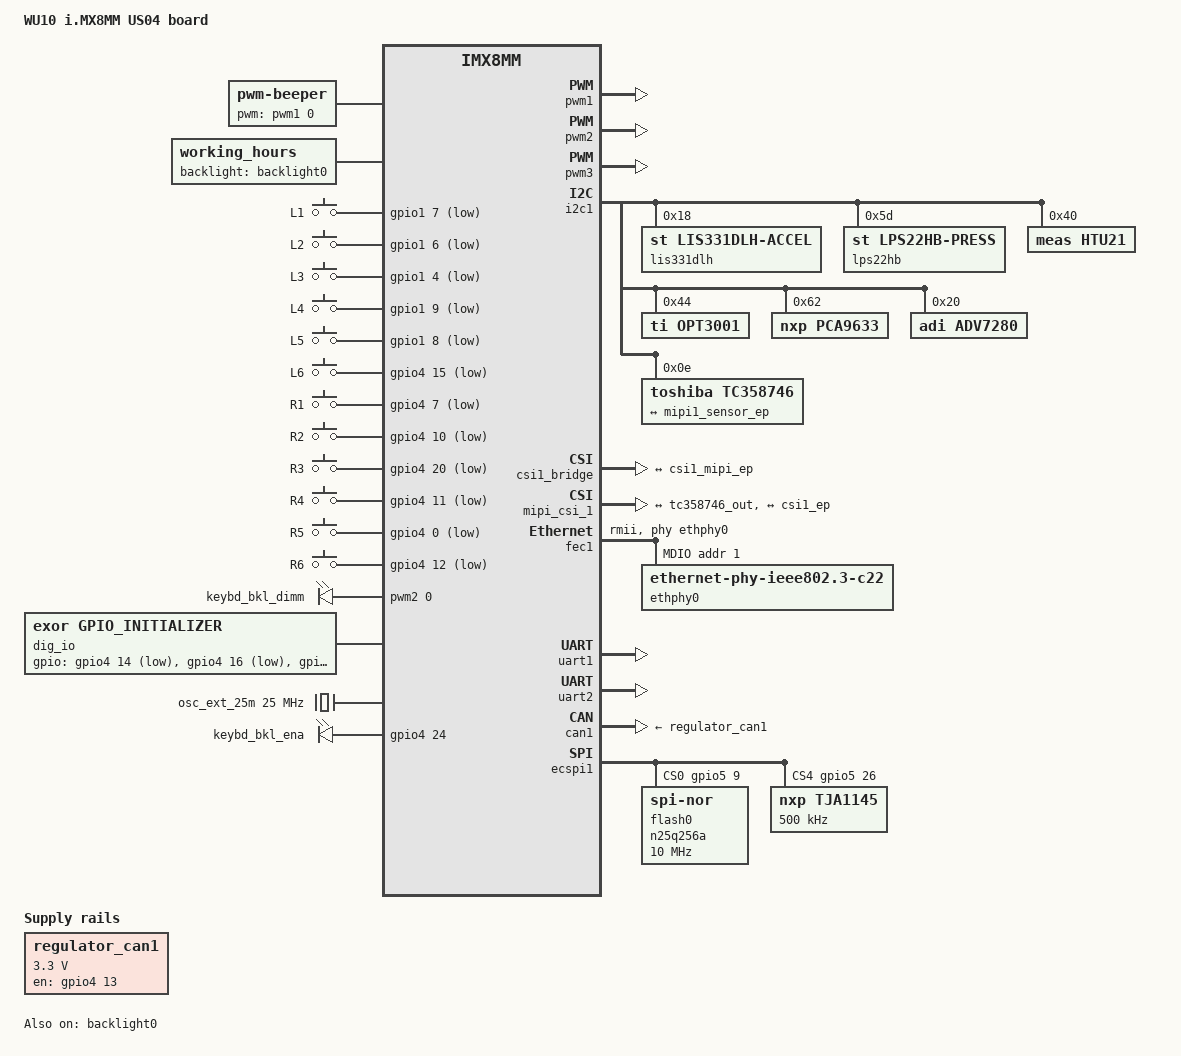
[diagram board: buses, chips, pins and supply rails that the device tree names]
/*
 * Copyright (C) 2019 Exor S.p.a
 * 
 * Written by: G. Pavoni Exor S.p.a.
 * 
 * Copyright (C) 2013 Freescale Semiconductor, Inc.
 *
 * This program is free software; you can redistribute it and/or modify
 * it under the terms of the GNU General Public License version 2 as
 * published by the Free Software Foundation.
 */
  
/dts-v1/;
  
#include "imx8mm_us04.dtsi"
  
/ {
	model = "WU10 i.MX8MM US04 board";
	compatible = "fsl,imx8mm-evk", "fsl,imx8mm";

	thermal-zones {
		/* cpu thermal */
		cpu-thermal {
			polling-delay-passive = <250>;
			polling-delay = <2000>;
			thermal-sensors = <&tmu>;
			trips {
				cpu_alert0: trip0 {
					temperature = <110000>;
					hysteresis = <2000>;
					type = "passive";
				};

				cpu_crit0: trip1 {
					temperature = <120000>;
					hysteresis = <2000>;
					type = "critical";
				};
			};

			cooling-maps {
				map0 {
					trip = <&cpu_alert0>;
					cooling-device =
					<&A53_0 THERMAL_NO_LIMIT THERMAL_NO_LIMIT>;
				};
			};
		};
	};
	
	beeper {
		compatible = "pwm-beeper";
		pwms = <&pwm1 0 50000 0>;
	};

	working_hours {
	  compatible = "working_hours";
	  nvmem-names = "eeprom", "rtcnvram";
	  nvmem = <&seeprom0>, <&m41t83>;
	  backlight = <&backlight0>;
	  status = "okay";
	};	
		
	gpio_buttons: gpio_buttons@0 {
		compatible = "gpio-keys";
		#address-cells = <1>;
		#size-cells = <0>;
		pinctrl-names = "default";
		pinctrl-0 = <&pinctrl_gpiobutton>;

		button@1 {
		    label = "L1";
		    linux,code = <68>; /* KEY_F10 */
		    gpios = <&gpio1 7 GPIO_ACTIVE_LOW>;
		};
		button@2 {
		    label = "L2";
		    linux,code = <67>; /* KEY_F9 */
		    gpios = <&gpio1 6 GPIO_ACTIVE_LOW>;
		};
		button@3 {
		    label = "L3";
		    linux,code = <66>; /* KEY_F8 */
		    gpios = <&gpio1 4 GPIO_ACTIVE_LOW>;
		};
		button@4 {
		    label = "L4";
		    linux,code = <65>; /* KEY_F7 */
		    gpios = <&gpio1 9 GPIO_ACTIVE_LOW>;
		};
		button@5 {
		    label = "L5";
		    linux,code = <64>; /* KEY_F6 */
		    gpios = <&gpio1 8 GPIO_ACTIVE_LOW>;
		};
		button@6 {
		    label = "L6";
		    linux,code = <87>; /* KEY_F11 */
		    gpios = <&gpio4 15 GPIO_ACTIVE_LOW>;
		};
		
		button@7 {
		    label = "R1";
		    linux,code = <63>; /* KEY_F5 */
		    gpios = <&gpio4 7 GPIO_ACTIVE_LOW>;
		};
		button@8 {
		    label = "R2";
		    linux,code = <62>; /* KEY_F4 */
		    gpios = <&gpio4 10 GPIO_ACTIVE_LOW>;
		};
		button@9 {
		    label = "R3";
		    linux,code = <61>; /* KEY_F3 */
		    gpios = <&gpio4 20 GPIO_ACTIVE_LOW>;
		};
		button@10 {
		    label = "R4";
		    linux,code = <60>; /* KEY_F2 */
		    gpios = <&gpio4 11 GPIO_ACTIVE_LOW>;
		};
		button@11 {
		    label = "R5";
		    linux,code = <59>; /* KEY_F1 */
		    gpios = <&gpio4 0 GPIO_ACTIVE_LOW>;
		};
		button@12 {
		    label = "R6";
		    linux,code = <88>; /* KEY_F12 */
		    gpios = <&gpio4 12 GPIO_ACTIVE_LOW>;
		};
	};
	
	pwmleds:pwmleds {
		compatible = "pwm-leds";
		keybd_bkl_dimm {
			label = "keybd_bkl_dimm";
			pwms = <&pwm2 0 1000000>;
			max-brightness = <255>;
		};
	};	
	
	dig_io:dig_io {
	  compatible = "exor,gpio_initializer";
	  pinctrl-names = "default";
	  pinctrl-0 = <&pinctrl_dig_io>;
	  gpios = <&gpio4 14 0x21>, <&gpio4 16 0x21>, <&gpio4 5 0x21>,  <&gpio4 4 0x21>,  <&gpio4 3 0x21>,  <&gpio4 2 0x21>,
	          <&gpio2 19 0x20>, <&gpio4 6 0x20>,  <&gpio5 10 0x20>, <&gpio5 13 0x20>, <&gpio5 12 0x20>, <&gpio5 11 0x20>;
	  gpio-names = "flt12", "flt34", "in1", "in2", "in3", "in4",
	               "en12", "en34", "out1", "out2", "out3", "out4";
	};
	
	regulator_can1: regulator_can1 {
            compatible = "regulator-fixed";
            regulator-name = "can1_stb";
            regulator-min-microvolt = <3300000>;
            regulator-max-microvolt = <3300000>;
            gpio = <&gpio4 13 0>;
            enable-active-high;
        };

	/* 25 MHz crystal oscillator for TC358748 */
	clocks {
		osc_ext_25m: clock@6 {
			compatible = "fixed-clock";
			reg = <6>;
			#clock-cells = <0>;
			clock-frequency = <25000000>;
			clock-output-names = "osc_ext_25m";
		};
	};
};

&backlight0 {
    compatible = "pwm-backlight";
    pwms = <&pwm3 0 50000 0>;
    brightness-levels = <0 4 8 12 16 20 24 28 32 36 40 44 48 52 56 60 64 68 72 76 80 84 88 92 96 100>;
    default-brightness-level = <0>;
    enable-gpios = <&gpio5 5 0>;
    status = "okay";
};

&pwm1 {
	pinctrl-names = "default";
	pinctrl-0 = <&pinctrl_pwm1>;
	status = "okay";
};

&pwm2 {
	pinctrl-names = "default";
	pinctrl-0 = <&pinctrl_pwm2>;
	status = "okay";
};

&pwm3 {
	pinctrl-names = "default";
	pinctrl-0 = <&pinctrl_pwm3>;
	status = "okay";
};

&i2c1 {
	lis331dlh@18 {
		/* Accelerometer */
		compatible = "st,lis331dlh-accel";
		reg = <0x18>;
	};

	lps22hb@5d {
		/* Pressure */
		compatible = "st,lps22hb-press";
		reg = <0x5d>;
	};
	
	htu21@40 {
		/* Humidity */
		compatible = "meas,htu21";
		reg = <0x40>;
	};

	opt3001@44 {
	  compatible = "ti,opt3001";
	  reg = <0x44>;
	};			
	
	pca9633: pca9633 {
		compatible = "nxp,pca9633";
		#address-cells = <1>;
		#size-cells = <0>;
		reg = <0x62>;
		
		red@0 {
			label = "red";
			reg = <0>;
			linux,default-trigger = "none";
		};
		green@1 {
			label = "green";
			reg = <1>;
			linux,default-trigger = "none";
		};
		blue@2 {
			label = "blue";
			reg = <2>;
			linux,default-trigger = "none";
		};
		unused@3 {
			label = "unused";
			reg = <3>;
			linux,default-trigger = "none";
		};
	};	
	adv7280@20 {
		status = "okay";
		compatible = "adi,adv7280";
		reg = <0x20>;
		csi_id =<0>; /* ?? */
		cvbs = <1>; /* Analogue channel: input 8 */
		clocks = <&osc_ext_25m>;
		clock-names = "refclk";
	};
	tc358746@e {
		compatible = "toshiba,tc358746";
		reg = <0xe>;
		clocks = <&osc_ext_25m>;
		clock-names = "refclk";
		port {
			tc358746_out: endpoint {
				remote-endpoint = <&mipi1_sensor_ep>;
//				data-lanes = <1 2 3 4>;
				data-lanes = <1>;
				clock-lanes = <0>;
				clock-noncontinuous;
				link-frequencies = /bits/ 64 <200000000>;
			};
		};
	};
};

&csi1_bridge {
	fsl,mipi-mode;
	status = "okay";
	port {
		csi1_ep: endpoint {
			remote-endpoint = <&csi1_mipi_ep>;
		};
	};
};

&mipi_csi_1 {
	#address-cells = <1>;
	#size-cells = <0>;
	status = "okay";
	port {
		mipi1_sensor_ep: endpoint1 {
			remote-endpoint = <&tc358746_out>;
			data-lanes = <1>;
			csis-hs-settle = <11>;
			csis-clk-settle = <2>;
			csis-wclk;
		};

		csi1_mipi_ep: endpoint2 {
			remote-endpoint = <&csi1_ep>;
		};
	};
};

&fec1 {
	pinctrl-names = "default";
	pinctrl-0 = <&pinctrl_fec1>;
	phy-mode = "rmii";
	phy-handle = <&ethphy0>;
	fsl,magic-packet;
	status = "okay";

	mdio {
		#address-cells = <1>;
		#size-cells = <0>;

		ethphy0: ethernet-phy@0 {
			compatible = "ethernet-phy-ieee802.3-c22";
			max-speed = <100>;
			reg = <1>;
		};
	};
};

&leds {
	led@4 {
		label = "keybd_bkl_ena";
		gpios = <&gpio4 24 0>;
		default-state = "on";
	};
};

&uart1 { /* Main UART */
	/delete-property/dmas;
	/delete-property/dma-names;
	pinctrl-names = "default";
	pinctrl-0 = <&pinctrl_uart1>;
	fsl,uart-has-rtscts;
	rts-gpio = <&gpio1 1 0>;
	mode-gpio = <&gpio1 0 0>;
	rxen-gpio = <&gpio1 3 0>;
	mode-two-lines-only;
	status = "okay";
};

&uart2 { /* Aux UART for PIC communication */
	/delete-property/dmas;
	/delete-property/dma-names;
	pinctrl-names = "default";
	pinctrl-0 = <&pinctrl_uart2>;
	fsl,uart-has-rtscts;
	status = "okay";
};

&can0 {
	transceiver = <&tja1145>;
};

&can1 {
	xceiver-supply = <&regulator_can1>;
};

&ecspi1 {
    fsl,spi-num-chipselects = <5>;
    pinctrl-0 = <&pinctrl_ecspi1_wu10>;
    
    cs-gpios = <&gpio5 9 0>,  /* CS0 */
               <&gpio5 29 0>, /* CS1 */
               <&gpio4 25 0>, /* CS2 */
               <&gpio4 27 0>, /* CS3 */
               <&gpio5 26 0>; /* CS4 */
	
	/delete-node/ n25q256a@4;
	/delete-node/ spi0@0;

	flash0: n25q256a@1 {
		#address-cells = <1>;
		#size-cells = <1>;
		compatible = "jedec,spi-nor";
		status = "okay";
		reg = <0>;      /* chip select */
		spi-max-frequency = <10000000>;
		/* m25p,fast-read; not compatible with our ic, don't use */
		page-size = <256>; 
		block-size = <16>; /* 2^16, 64KB */
		read-delay = <4>;  /* delay value in read data capture register */
		cdns,tshsl-ns = <50>;
		cdns,tsd2d-ns = <50>;
		cdns,tchsh-ns = <4>;
		cdns,tslch-ns = <4>;
	};
	
	tja1145: tja1145@4 {
		compatible = "nxp,tja1145";
		reg = <4>;
		spi-cpha;
		spi-max-frequency = <500000>;
	};	
};

&iomuxc {
	imx8mm-evk {

		pinctrl_hog: hoggrp {
			fsl,pins = <
				MX8MM_IOMUXC_GPIO1_IO12_GPIO1_IO12      0x1c4
				MX8MM_IOMUXC_GPIO1_IO14_GPIO1_IO14      0x1c4
				MX8MM_IOMUXC_SPDIF_RX_GPIO5_IO4         0x1c4
				MX8MM_IOMUXC_SAI2_RXD0_GPIO4_IO23       0x1c4   /* Wifi Reset */
			>;
		};

		pinctrl_pwm3: pwm3grp {
			fsl,pins = <
				MX8MM_IOMUXC_SPDIF_TX_PWM3_OUT            0x1c4
				MX8MM_IOMUXC_SPDIF_EXT_CLK_GPIO5_IO5      0x1c4
			>;
		};

		pinctrl_pwm1: pwm1grp {
			fsl,pins = <
				MX8MM_IOMUXC_I2C4_SDA_PWM1_OUT            0x1c4
			>;
		};

		pinctrl_pwm2: pwm2grp {
			fsl,pins = <
				MX8MM_IOMUXC_I2C4_SCL_PWM2_OUT            0x1c4
				MX8MM_IOMUXC_SAI2_TXFS_GPIO4_IO24         0x1c4
			>;
		};
		
		pinctrl_uart1: uart1grp {
			fsl,pins = <
				MX8MM_IOMUXC_SAI2_RXFS_UART1_TX	    0x140
				MX8MM_IOMUXC_SAI2_RXC_UART1_RX	    0x140
				MX8MM_IOMUXC_GPIO1_IO03_GPIO1_IO3   0x11
				MX8MM_IOMUXC_GPIO1_IO01_GPIO1_IO1   0x11
				MX8MM_IOMUXC_GPIO1_IO00_GPIO1_IO0   0x11
			>;
		};

		pinctrl_uart2: uart2grp {
			fsl,pins = <
				MX8MM_IOMUXC_SAI3_TXC_UART2_TX	    0x140
				MX8MM_IOMUXC_SAI3_TXFS_UART2_RX	    0x140
			>;
		};
		
		pinctrl_fec1: fec1grp {
			fsl,pins = <
				MX8MM_IOMUXC_ENET_MDC_ENET1_MDC		0x3
				MX8MM_IOMUXC_ENET_MDIO_ENET1_MDIO	0x3
				MX8MM_IOMUXC_ENET_TD2_ENET1_TX_CLK	0x4000001f
				MX8MM_IOMUXC_ENET_TD1_ENET1_RGMII_TD1	0x56
				MX8MM_IOMUXC_ENET_TD0_ENET1_RGMII_TD0	0x56
				MX8MM_IOMUXC_ENET_RD1_ENET1_RGMII_RD1	0x56
				MX8MM_IOMUXC_ENET_RD0_ENET1_RGMII_RD0	0x56
				MX8MM_IOMUXC_ENET_RXC_ENET1_RX_ER	0x56
				MX8MM_IOMUXC_ENET_RX_CTL_ENET1_RGMII_RX_CTL	0x56
				MX8MM_IOMUXC_ENET_TX_CTL_ENET1_RGMII_TX_CTL	0x56
			>;
		};
		
		pinctrl_gpiobutton: pinctrl_gpiobuttongrp {
			fsl,pins = <
                MX8MM_IOMUXC_GPIO1_IO07_GPIO1_IO7      0x1c4 /* Key L1 */
                MX8MM_IOMUXC_GPIO1_IO06_GPIO1_IO6      0x1c4 /* Key L2 */
                MX8MM_IOMUXC_GPIO1_IO04_GPIO1_IO4      0x1c4 /* Key L3 */
                MX8MM_IOMUXC_GPIO1_IO09_GPIO1_IO9      0x1c4 /* Key L4 */
                MX8MM_IOMUXC_GPIO1_IO08_GPIO1_IO8      0x1c4 /* Key L5 */
                MX8MM_IOMUXC_SAI1_TXD3_GPIO4_IO15      0x1c4 /* Key L6 */
                MX8MM_IOMUXC_SAI1_RXD5_GPIO4_IO7       0x1c4 /* Key R1 */
                MX8MM_IOMUXC_SAI1_TXFS_GPIO4_IO10      0x1c4 /* Key R2 */
                MX8MM_IOMUXC_SAI1_MCLK_GPIO4_IO20      0x1c4 /* Key R3 */
                MX8MM_IOMUXC_SAI1_TXC_GPIO4_IO11       0x1c4 /* Key R4 */
                MX8MM_IOMUXC_SAI1_RXFS_GPIO4_IO0       0x1c4 /* Key R5 */
                MX8MM_IOMUXC_SAI1_TXD0_GPIO4_IO12      0x1c4 /* Key R6 */
			>;
		};

		pinctrl_ecspi1_wu10: ecspi1wu10grp {
			fsl,pins = <
				MX8MM_IOMUXC_ECSPI1_SCLK_ECSPI1_SCLK    0x11
				MX8MM_IOMUXC_ECSPI1_MOSI_ECSPI1_MOSI    0x11
				MX8MM_IOMUXC_ECSPI1_MISO_ECSPI1_MISO    0x11
				MX8MM_IOMUXC_ECSPI1_SS0_GPIO5_IO9       0x11
				MX8MM_IOMUXC_UART4_TXD_GPIO5_IO29       0x11
				MX8MM_IOMUXC_SAI2_TXC_GPIO4_IO25        0x11
				MX8MM_IOMUXC_SAI2_MCLK_GPIO4_IO27       0x11
				MX8MM_IOMUXC_UART3_RXD_GPIO5_IO26       0x11
				MX8MM_IOMUXC_SAI1_TXD1_GPIO4_IO13       0x11
			>;
		};
		
		pinctrl_dig_io: pinctrl_dig_iogrp {
			fsl,pins = <
                MX8MM_IOMUXC_SAI1_TXD2_GPIO4_IO14      0x1c4 /* flt12 */
                MX8MM_IOMUXC_SAI1_TXD4_GPIO4_IO16      0x1c4 /* flt34 */
                MX8MM_IOMUXC_SAI1_RXD3_GPIO4_IO5       0x1c4 /* in1   */
                MX8MM_IOMUXC_SAI1_RXD2_GPIO4_IO4       0x1c4 /* in2   */
                MX8MM_IOMUXC_SAI1_RXD1_GPIO4_IO3       0x1c4 /* in3   */ 
                MX8MM_IOMUXC_SAI1_RXD0_GPIO4_IO2       0x1c4 /* in4   */
                MX8MM_IOMUXC_SD2_RESET_B_GPIO2_IO19    0x1c4 /* en12  */
                MX8MM_IOMUXC_SAI1_RXD4_GPIO4_IO6       0x1c4 /* en34  */
                MX8MM_IOMUXC_ECSPI2_SCLK_GPIO5_IO10    0x1c4 /* out1  */
                MX8MM_IOMUXC_ECSPI2_SS0_GPIO5_IO13     0x1c4 /* out2  */
                MX8MM_IOMUXC_ECSPI2_MISO_GPIO5_IO12    0x1c4 /* out3  */
                MX8MM_IOMUXC_ECSPI2_MOSI_GPIO5_IO11    0x1c4 /* out4  */
 			>;
		};
	};
};

